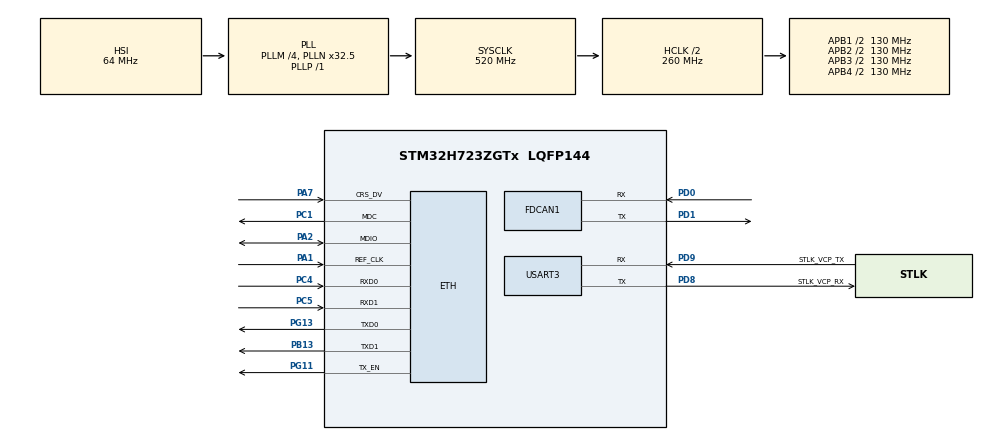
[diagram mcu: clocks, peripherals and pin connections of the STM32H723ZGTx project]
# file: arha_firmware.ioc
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CORTEX_M7.AccessPermission_S-Cortex_Memory_Protection_Unit_Region1_Settings_S=MPU_REGION_FULL_ACCESS
CORTEX_M7.AccessPermission_S-Cortex_Memory_Protection_Unit_Region2_Settings_S=MPU_REGION_FULL_ACCESS
CORTEX_M7.BaseAddress_S-Cortex_Memory_Protection_Unit_Region1_Settings_S=0x30000000
CORTEX_M7.BaseAddress_S-Cortex_Memory_Protection_Unit_Region2_Settings_S=0x30004000
CORTEX_M7.Enable_S-Cortex_Memory_Protection_Unit_Region1_Settings_S=MPU_REGION_ENABLE
CORTEX_M7.Enable_S-Cortex_Memory_Protection_Unit_Region2_Settings_S=MPU_REGION_ENABLE
CORTEX_M7.IsBufferable_S-Cortex_Memory_Protection_Unit_Region1_Settings_S=MPU_ACCESS_BUFFERABLE
CORTEX_M7.IsCacheable_S-Cortex_Memory_Protection_Unit_Region1_Settings_S=MPU_ACCESS_NOT_CACHEABLE
CORTEX_M7.IsShareable_S-Cortex_Memory_Protection_Unit_Region2_Settings_S=MPU_ACCESS_SHAREABLE
CORTEX_M7.Size_S-Cortex_Memory_Protection_Unit_Region1_Settings_S=MPU_REGION_SIZE_256B
CORTEX_M7.Size_S-Cortex_Memory_Protection_Unit_Region2_Settings_S=MPU_REGION_SIZE_16KB
CORTEX_M7.TypeExtField_S-Cortex_Memory_Protection_Unit_Region2_Settings_S=MPU_TEX_LEVEL1
CORTEX_M7.default_mode_Activation=1
Dma.CORDIC_RD.1.Direction=DMA_PERIPH_TO_MEMORY
Dma.CORDIC_RD.1.EventEnable=DISABLE
Dma.CORDIC_RD.1.FIFOMode=DMA_FIFOMODE_DISABLE
Dma.CORDIC_RD.1.Instance=DMA1_Stream1
Dma.CORDIC_RD.1.MemDataAlignment=DMA_MDATAALIGN_WORD
Dma.CORDIC_RD.1.MemInc=DMA_MINC_ENABLE
Dma.CORDIC_RD.1.Mode=DMA_NORMAL
Dma.CORDIC_RD.1.PeriphDataAlignment=DMA_PDATAALIGN_WORD
Dma.CORDIC_RD.1.PeriphInc=DMA_PINC_DISABLE
Dma.CORDIC_RD.1.Polarity=HAL_DMAMUX_REQ_GEN_RISING
Dma.CORDIC_RD.1.Priority=DMA_PRIORITY_LOW
Dma.CORDIC_RD.1.RequestNumber=1
Dma.CORDIC_RD.1.SignalID=NONE
Dma.CORDIC_RD.1.SyncEnable=DISABLE
Dma.CORDIC_RD.1.SyncPolarity=HAL_DMAMUX_SYNC_NO_EVENT
Dma.CORDIC_RD.1.SyncRequestNumber=1
Dma.CORDIC_RD.1.SyncSignalID=NONE
Dma.CORDIC_WR.0.Direction=DMA_MEMORY_TO_PERIPH
Dma.CORDIC_WR.0.EventEnable=DISABLE
Dma.CORDIC_WR.0.FIFOMode=DMA_FIFOMODE_DISABLE
Dma.CORDIC_WR.0.Instance=DMA1_Stream0
Dma.CORDIC_WR.0.MemDataAlignment=DMA_MDATAALIGN_WORD
Dma.CORDIC_WR.0.MemInc=DMA_MINC_ENABLE
Dma.CORDIC_WR.0.Mode=DMA_NORMAL
Dma.CORDIC_WR.0.PeriphDataAlignment=DMA_PDATAALIGN_WORD
Dma.CORDIC_WR.0.PeriphInc=DMA_PINC_DISABLE
Dma.CORDIC_WR.0.Polarity=HAL_DMAMUX_REQ_GEN_RISING
Dma.CORDIC_WR.0.Priority=DMA_PRIORITY_LOW
Dma.CORDIC_WR.0.RequestNumber=1
Dma.CORDIC_WR.0.SignalID=NONE
Dma.CORDIC_WR.0.SyncEnable=DISABLE
Dma.CORDIC_WR.0.SyncPolarity=HAL_DMAMUX_SYNC_NO_EVENT
Dma.CORDIC_WR.0.SyncRequestNumber=1
Dma.CORDIC_WR.0.SyncSignalID=NONE
Dma.FMAC_RD.2.Direction=DMA_PERIPH_TO_MEMORY
Dma.FMAC_RD.2.EventEnable=DISABLE
Dma.FMAC_RD.2.FIFOMode=DMA_FIFOMODE_DISABLE
Dma.FMAC_RD.2.Instance=DMA1_Stream2
Dma.FMAC_RD.2.MemDataAlignment=DMA_MDATAALIGN_HALFWORD
Dma.FMAC_RD.2.MemInc=DMA_MINC_ENABLE
Dma.FMAC_RD.2.Mode=DMA_NORMAL
Dma.FMAC_RD.2.PeriphDataAlignment=DMA_PDATAALIGN_HALFWORD
Dma.FMAC_RD.2.PeriphInc=DMA_PINC_DISABLE
Dma.FMAC_RD.2.Polarity=HAL_DMAMUX_REQ_GEN_RISING
Dma.FMAC_RD.2.Priority=DMA_PRIORITY_LOW
Dma.FMAC_RD.2.RequestNumber=1
Dma.FMAC_RD.2.SignalID=NONE
Dma.FMAC_RD.2.SyncEnable=DISABLE
Dma.FMAC_RD.2.SyncPolarity=HAL_DMAMUX_SYNC_NO_EVENT
Dma.FMAC_RD.2.SyncRequestNumber=1
Dma.FMAC_RD.2.SyncSignalID=NONE
Dma.FMAC_WR.3.Direction=DMA_MEMORY_TO_PERIPH
Dma.FMAC_WR.3.EventEnable=DISABLE
Dma.FMAC_WR.3.FIFOMode=DMA_FIFOMODE_DISABLE
Dma.FMAC_WR.3.Instance=DMA1_Stream3
Dma.FMAC_WR.3.MemDataAlignment=DMA_MDATAALIGN_HALFWORD
Dma.FMAC_WR.3.MemInc=DMA_MINC_ENABLE
Dma.FMAC_WR.3.Mode=DMA_NORMAL
Dma.FMAC_WR.3.PeriphDataAlignment=DMA_PDATAALIGN_HALFWORD
Dma.FMAC_WR.3.PeriphInc=DMA_PINC_DISABLE
Dma.FMAC_WR.3.Polarity=HAL_DMAMUX_REQ_GEN_RISING
Dma.FMAC_WR.3.Priority=DMA_PRIORITY_LOW
Dma.FMAC_WR.3.RequestNumber=1
Dma.FMAC_WR.3.SignalID=NONE
Dma.FMAC_WR.3.SyncEnable=DISABLE
Dma.FMAC_WR.3.SyncPolarity=HAL_DMAMUX_SYNC_NO_EVENT
Dma.FMAC_WR.3.SyncRequestNumber=1
Dma.FMAC_WR.3.SyncSignalID=NONE
Dma.Request0=CORDIC_WR
Dma.Request1=CORDIC_RD
Dma.Request2=FMAC_RD
Dma.Request3=FMAC_WR
ETH.MediaInterface=HAL_ETH_RMII_MODE
FDCAN1.AutoRetransmission=ENABLE
FDCAN1.CalculateBaudRateNominal=1000000
FDCAN1.CalculateTimeBitNominal=1000
FDCAN1.CalculateTimeQuantumNominal=76.92307692307692
FDCAN1.NominalPrescaler=10
FDCAN1.NominalTimeSeg1=10
FDCAN1.NominalTimeSeg2=2
FDCAN1.RxFifo0ElmtsNbr=8
FDCAN1.StdFiltersNbr=1
FDCAN1.TxFifoQueueElmtsNbr=32
FREERTOS.Tasks01=defaultTask,24,512,StartDefaultTask,Default,NULL,Dynamic,NULL,NULL
FREERTOS.configMINIMAL_STACK_SIZE=512
FREERTOS.configTOTAL_HEAP_SIZE=25000
FREERTOS.configUSE_NEWLIB_REENTRANT=1
LWIP.BSP.number=1
LWIP.GATEWAY_ADDRESS=192.168.197.001
LWIP.IP_ADDRESS=192.168.197.123
LWIP.LWIP_DHCP=0
LWIP.MEM_SIZE=14336
LWIP.NETMASK_ADDRESS=255.255.255.000
LWIP.PBUF_POOL_BUFSIZE=1536
LWIP.TCP_MSS=1460
LWIP.TCP_WND=5840
LWIP.Version=v2.1.2_Cube
LWIP0.BSP.STBoard=false
LWIP0.BSP.api=BSP_COMPONENT_DRIVER
LWIP0.BSP.component=LAN8742
LWIP0.BSP.instance=LAN8742
LWIP0.BSP.name=Driver_PHY
LWIP0.BSP.semaphore=S_LAN8742
LWIP0.BSP.solution=LAN8742
Mcu.Family=STM32H7
Mcu.Name=STM32H723ZGTx
Mcu.Package=LQFP144
NVIC.DMA1_Stream0_IRQn=true\:5\:0\:false\:false\:true\:true\:false\:true\:true
NVIC.DMA1_Stream1_IRQn=true\:5\:0\:false\:false\:true\:true\:false\:true\:true
NVIC.DMA1_Stream2_IRQn=true\:5\:0\:false\:false\:true\:true\:false\:true\:true
NVIC.DMA1_Stream3_IRQn=true\:5\:0\:false\:false\:true\:true\:false\:true\:true
NVIC.FDCAN1_IT0_IRQn=true\:5\:0\:false\:false\:true\:true\:true\:true\:true
NVIC.PriorityGroup=NVIC_PRIORITYGROUP_4
NVIC.TIM6_DAC_IRQn=true\:15\:0\:false\:false\:true\:false\:false\:true\:true
NVIC.TimeBase=TIM6_DAC_IRQn
NVIC.TimeBaseIP=TIM6
PA1.GPIO_Speed_Default_HIGH=GPIO_SPEED_FREQ_VERY_HIGH
PA1.Mode=RMII
PA1.Signal=ETH_REF_CLK
PA13(JTMS/SWDIO).GPIO_Label=SWDIO
PA13(JTMS/SWDIO).Signal=DEBUG_JTMS-SWDIO
PA14(JTCK/SWCLK).GPIO_Label=SWCLK
PA14(JTCK/SWCLK).Signal=DEBUG_JTCK-SWCLK
PA2.GPIO_Speed_Default_HIGH=GPIO_SPEED_FREQ_VERY_HIGH
PA2.Mode=RMII
PA2.Signal=ETH_MDIO
PA7.GPIO_Speed_Default_HIGH=GPIO_SPEED_FREQ_VERY_HIGH
PA7.Mode=RMII
PA7.Signal=ETH_CRS_DV
PB13.GPIO_Speed_Default_HIGH=GPIO_SPEED_FREQ_VERY_HIGH
PB13.Mode=RMII
PB13.Signal=ETH_TXD1
PC1.GPIO_Speed_Default_HIGH=GPIO_SPEED_FREQ_VERY_HIGH
PC1.Mode=RMII
PC1.Signal=ETH_MDC
PC14-OSC32_IN.Signal=RCC_OSC32_IN
PC15-OSC32_OUT.Signal=RCC_OSC32_OUT
PC4.GPIO_Speed_Default_HIGH=GPIO_SPEED_FREQ_VERY_HIGH
PC4.Mode=RMII
PC4.Signal=ETH_RXD0
PC5.GPIO_Speed_Default_HIGH=GPIO_SPEED_FREQ_VERY_HIGH
PC5.Mode=RMII
PC5.Signal=ETH_RXD1
PD0.GPIO_Speed=GPIO_SPEED_FREQ_VERY_HIGH
PD0.Mode=FDCAN_Activate
PD0.Signal=FDCAN1_RX
PD1.GPIO_Speed=GPIO_SPEED_FREQ_VERY_HIGH
PD1.Mode=FDCAN_Activate
PD1.Signal=FDCAN1_TX
PD8.GPIO_Label=STLK_VCP_RX
PD8.Mode=Asynchronous
PD8.Signal=USART3_TX
PD9.GPIO_Label=STLK_VCP_TX
PD9.Mode=Asynchronous
PD9.Signal=USART3_RX
PG11.GPIO_Speed_Default_HIGH=GPIO_SPEED_FREQ_VERY_HIGH
PG11.Mode=RMII
PG11.Signal=ETH_TX_EN
PG13.GPIO_Speed_Default_HIGH=GPIO_SPEED_FREQ_VERY_HIGH
PG13.Mode=RMII
PG13.Signal=ETH_TXD0
PH0-OSC_IN.Mode=HSE-External-Clock-Source
PH0-OSC_IN.Signal=RCC_OSC_IN
ProjectManager.HeapSize=0x1000
ProjectManager.StackSize=0x1000
ProjectManager.TargetToolchain=Makefile
RCC.ADCFreq_Value=608000000
RCC.APB1Freq_Value=130000000
RCC.APB2Freq_Value=130000000
RCC.APB3Freq_Value=130000000
RCC.APB4Freq_Value=130000000
RCC.CortexFreq_Value=520000000
RCC.D1PPRE=RCC_APB3_DIV2
RCC.D2PPRE1=RCC_APB1_DIV2
RCC.D2PPRE2=RCC_APB2_DIV2
RCC.D3PPRE=RCC_APB4_DIV2
RCC.DIVM1=4
RCC.DIVM2=1
RCC.DIVN1=32
RCC.DIVN2=19
RCC.DIVP1=1
RCC.DIVQ1=4
RCC.HCLKFreq_Value=260000000
RCC.HPRE=RCC_HCLK_DIV2
RCC.HSE_VALUE=8000000
RCC.PLLFRACN=4096
RCC.SYSCLKFreq_VALUE=520000000
RCC.SYSCLKSource=RCC_SYSCLKSOURCE_PLLCLK
RCC.USBCLockSelection=RCC_USBCLKSOURCE_HSI48
RCC.USBFreq_Value=48000000
USART3.VirtualMode-Asynchronous=VM_ASYNC
VP_CORDIC_VS_CORDIC.Mode=CORDIC_Activate
VP_FMAC_VS_FMAC.Mode=FMAC_Activate
VP_FREERTOS_VS_CMSIS_V2.Mode=CMSIS_V2
VP_LWIP_VS_Enabled.Mode=Enabled
VP_MEMORYMAP_VS_MEMORYMAP.Mode=CurAppReg
VP_SYS_VS_tim6.Mode=TIM6
board=NUCLEO-H723ZG

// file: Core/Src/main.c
/* USER CODE BEGIN Header */
/**
  ******************************************************************************
  * @file           : main.c
  * @brief          : Main program body
  ******************************************************************************
  * @attention
  *
  * Copyright (c) 2026 STMicroelectronics.
  * All rights reserved.
  *
  * This software is licensed under terms that can be found in the LICENSE file
  * in the root directory of this software component.
  * If no LICENSE file comes with this software, it is provided AS-IS.
  *
  ******************************************************************************
  */
/* USER CODE END Header */
#include "main.h"
#include "cmsis_os.h"
#include "lwip.h"

/* USER CODE BEGIN Includes */
#include "app.h"
/* USER CODE END Includes */

CORDIC_HandleTypeDef hcordic;
DMA_HandleTypeDef hdma_cordic_wr;
DMA_HandleTypeDef hdma_cordic_rd;

FDCAN_HandleTypeDef hfdcan1;

FMAC_HandleTypeDef hfmac;
DMA_HandleTypeDef hdma_fmac_rd;
DMA_HandleTypeDef hdma_fmac_wr;

UART_HandleTypeDef huart3;

/* Definitions for defaultTask */
osThreadId_t defaultTaskHandle;
const osThreadAttr_t defaultTask_attributes = {
  .name = "defaultTask",
  .stack_size = 512 * 4,
  .priority = (osPriority_t) osPriorityNormal,
};

void SystemClock_Config(void);
static void MPU_Config(void);
static void MX_GPIO_Init(void);
static void MX_DMA_Init(void);
static void MX_CORDIC_Init(void);
static void MX_FDCAN1_Init(void);
static void MX_FMAC_Init(void);
static void MX_USART3_UART_Init(void);
void StartDefaultTask(void *argument);

/* USER CODE BEGIN 0 */
int __io_putchar(int ch)
{
  HAL_UART_Transmit(&huart3, (uint8_t *)&ch, 1, HAL_MAX_DELAY);
  return ch;
}
/* USER CODE END 0 */

int main(void)
{

  /* MPU Configuration--------------------------------------------------------*/
  MPU_Config();

  /* MCU Configuration--------------------------------------------------------*/

  /* Reset of all peripherals, Initializes the Flash interface and the Systick. */
  HAL_Init();

  /* Configure the system clock */
  SystemClock_Config();

  /* Initialize all configured peripherals */
  MX_GPIO_Init();
  MX_DMA_Init();
  MX_CORDIC_Init();
  MX_FDCAN1_Init();
  MX_FMAC_Init();
  MX_USART3_UART_Init();
  /* USER CODE BEGIN 2 */
  App_Init();
  /* USER CODE END 2 */

  /* Init scheduler */
  osKernelInitialize();

  /* Create the thread(s) */
  /* creation of defaultTask */
  defaultTaskHandle = osThreadNew(StartDefaultTask, NULL, &defaultTask_attributes);

  /* USER CODE BEGIN RTOS_THREADS */
  /* add threads, ... */
  extern void StartBlinkTask(void *argument);
  const osThreadAttr_t blinkTask_attributes = {
    .name = "blinkTask",
    .stack_size = 256 * 4,
    .priority = (osPriority_t) osPriorityNormal,
  };
  osThreadNew(StartBlinkTask, NULL, &blinkTask_attributes);
  /* USER CODE END RTOS_THREADS */

  /* Start scheduler */
  osKernelStart();

  /* We should never get here as control is now taken by the scheduler */

  /* Infinite loop */
  while (1)
  {
  }
}

void SystemClock_Config(void)
{
  RCC_OscInitTypeDef RCC_OscInitStruct = {0};
  RCC_ClkInitTypeDef RCC_ClkInitStruct = {0};

  /** Supply configuration update enable
  */
  HAL_PWREx_ConfigSupply(PWR_LDO_SUPPLY);

  /** Configure the main internal regulator output voltage
  */
  __HAL_PWR_VOLTAGESCALING_CONFIG(PWR_REGULATOR_VOLTAGE_SCALE0);

  while(!__HAL_PWR_GET_FLAG(PWR_FLAG_VOSRDY)) {}

  /** Initializes the RCC Oscillators according to the specified parameters
  * in the RCC_OscInitTypeDef structure.
  */
  RCC_OscInitStruct.OscillatorType = RCC_OSCILLATORTYPE_HSI;
  RCC_OscInitStruct.HSIState = RCC_HSI_DIV1;
  RCC_OscInitStruct.HSICalibrationValue = 64;
  RCC_OscInitStruct.PLL.PLLState = RCC_PLL_ON;
  RCC_OscInitStruct.PLL.PLLSource = RCC_PLLSOURCE_HSI;
  RCC_OscInitStruct.PLL.PLLM = 4;
  RCC_OscInitStruct.PLL.PLLN = 32;
  RCC_OscInitStruct.PLL.PLLP = 1;
  RCC_OscInitStruct.PLL.PLLQ = 4;
  RCC_OscInitStruct.PLL.PLLR = 2;
  RCC_OscInitStruct.PLL.PLLRGE = RCC_PLL1VCIRANGE_3;
  RCC_OscInitStruct.PLL.PLLVCOSEL = RCC_PLL1VCOWIDE;
  RCC_OscInitStruct.PLL.PLLFRACN = 4096;
  if (HAL_RCC_OscConfig(&RCC_OscInitStruct) != HAL_OK)
  {
    Error_Handler();
  }

  /** Initializes the CPU, AHB and APB buses clocks
  */
  RCC_ClkInitStruct.ClockType = RCC_CLOCKTYPE_HCLK|RCC_CLOCKTYPE_SYSCLK
                              |RCC_CLOCKTYPE_PCLK1|RCC_CLOCKTYPE_PCLK2
                              |RCC_CLOCKTYPE_D3PCLK1|RCC_CLOCKTYPE_D1PCLK1;
  RCC_ClkInitStruct.SYSCLKSource = RCC_SYSCLKSOURCE_PLLCLK;
  RCC_ClkInitStruct.SYSCLKDivider = RCC_SYSCLK_DIV1;
  RCC_ClkInitStruct.AHBCLKDivider = RCC_HCLK_DIV2;
  RCC_ClkInitStruct.APB3CLKDivider = RCC_APB3_DIV2;
  RCC_ClkInitStruct.APB1CLKDivider = RCC_APB1_DIV2;
  RCC_ClkInitStruct.APB2CLKDivider = RCC_APB2_DIV2;
  RCC_ClkInitStruct.APB4CLKDivider = RCC_APB4_DIV2;

  if (HAL_RCC_ClockConfig(&RCC_ClkInitStruct, FLASH_LATENCY_3) != HAL_OK)
  {
    Error_Handler();
  }
}

static void MX_CORDIC_Init(void)
{

  hcordic.Instance = CORDIC;
  if (HAL_CORDIC_Init(&hcordic) != HAL_OK)
  {
    Error_Handler();
  }

}

static void MX_FDCAN1_Init(void)
{

  hfdcan1.Instance = FDCAN1;
  hfdcan1.Init.FrameFormat = FDCAN_FRAME_CLASSIC;
  hfdcan1.Init.Mode = FDCAN_MODE_NORMAL;
  hfdcan1.Init.AutoRetransmission = ENABLE;
  hfdcan1.Init.TransmitPause = DISABLE;
  hfdcan1.Init.ProtocolException = DISABLE;
  hfdcan1.Init.NominalPrescaler = 10;
  hfdcan1.Init.NominalSyncJumpWidth = 1;
  hfdcan1.Init.NominalTimeSeg1 = 10;
  hfdcan1.Init.NominalTimeSeg2 = 2;
  hfdcan1.Init.DataPrescaler = 1;
  hfdcan1.Init.DataSyncJumpWidth = 1;
  hfdcan1.Init.DataTimeSeg1 = 1;
  hfdcan1.Init.DataTimeSeg2 = 1;
  hfdcan1.Init.MessageRAMOffset = 0;
  hfdcan1.Init.StdFiltersNbr = 1;
  hfdcan1.Init.ExtFiltersNbr = 0;
  hfdcan1.Init.RxFifo0ElmtsNbr = 8;
  hfdcan1.Init.RxFifo0ElmtSize = FDCAN_DATA_BYTES_8;
  hfdcan1.Init.RxFifo1ElmtsNbr = 0;
  hfdcan1.Init.RxFifo1ElmtSize = FDCAN_DATA_BYTES_8;
  hfdcan1.Init.RxBuffersNbr = 0;
  hfdcan1.Init.RxBufferSize = FDCAN_DATA_BYTES_8;
  hfdcan1.Init.TxEventsNbr = 0;
  hfdcan1.Init.TxBuffersNbr = 0;
  hfdcan1.Init.TxFifoQueueElmtsNbr = 32;
  hfdcan1.Init.TxFifoQueueMode = FDCAN_TX_FIFO_OPERATION;
  hfdcan1.Init.TxElmtSize = FDCAN_DATA_BYTES_8;
  if (HAL_FDCAN_Init(&hfdcan1) != HAL_OK)
  {
    Error_Handler();
  }

}

static void MX_FMAC_Init(void)
{

  hfmac.Instance = FMAC;
  if (HAL_FMAC_Init(&hfmac) != HAL_OK)
  {
    Error_Handler();
  }

}

static void MX_USART3_UART_Init(void)
{

  huart3.Instance = USART3;
  huart3.Init.BaudRate = 115200;
  huart3.Init.WordLength = UART_WORDLENGTH_8B;
  huart3.Init.StopBits = UART_STOPBITS_1;
  huart3.Init.Parity = UART_PARITY_NONE;
  huart3.Init.Mode = UART_MODE_TX_RX;
  huart3.Init.HwFlowCtl = UART_HWCONTROL_NONE;
  huart3.Init.OverSampling = UART_OVERSAMPLING_16;
  huart3.Init.OneBitSampling = UART_ONE_BIT_SAMPLE_DISABLE;
  huart3.Init.ClockPrescaler = UART_PRESCALER_DIV1;
  huart3.AdvancedInit.AdvFeatureInit = UART_ADVFEATURE_NO_INIT;
  if (HAL_UART_Init(&huart3) != HAL_OK)
  {
    Error_Handler();
  }
  if (HAL_UARTEx_SetTxFifoThreshold(&huart3, UART_TXFIFO_THRESHOLD_1_8) != HAL_OK)
  {
    Error_Handler();
  }
  if (HAL_UARTEx_SetRxFifoThreshold(&huart3, UART_RXFIFO_THRESHOLD_1_8) != HAL_OK)
  {
    Error_Handler();
  }
  if (HAL_UARTEx_DisableFifoMode(&huart3) != HAL_OK)
  {
    Error_Handler();
  }

}

static void MX_DMA_Init(void)
{

  /* DMA controller clock enable */
  __HAL_RCC_DMA1_CLK_ENABLE();

  /* DMA interrupt init */
  /* DMA1_Stream0_IRQn interrupt configuration */
  HAL_NVIC_SetPriority(DMA1_Stream0_IRQn, 5, 0);
  HAL_NVIC_EnableIRQ(DMA1_Stream0_IRQn);
  /* DMA1_Stream1_IRQn interrupt configuration */
  HAL_NVIC_SetPriority(DMA1_Stream1_IRQn, 5, 0);
  HAL_NVIC_EnableIRQ(DMA1_Stream1_IRQn);
  /* DMA1_Stream2_IRQn interrupt configuration */
  HAL_NVIC_SetPriority(DMA1_Stream2_IRQn, 5, 0);
  HAL_NVIC_EnableIRQ(DMA1_Stream2_IRQn);
  /* DMA1_Stream3_IRQn interrupt configuration */
  HAL_NVIC_SetPriority(DMA1_Stream3_IRQn, 5, 0);
  HAL_NVIC_EnableIRQ(DMA1_Stream3_IRQn);

}

static void MX_GPIO_Init(void)
{

  /* GPIO Ports Clock Enable */
  __HAL_RCC_GPIOC_CLK_ENABLE();
  __HAL_RCC_GPIOH_CLK_ENABLE();
  __HAL_RCC_GPIOA_CLK_ENABLE();
  __HAL_RCC_GPIOB_CLK_ENABLE();
  __HAL_RCC_GPIOD_CLK_ENABLE();
  __HAL_RCC_GPIOG_CLK_ENABLE();

  /* USER CODE BEGIN MX_GPIO_Init_2 */
  GPIO_InitTypeDef GPIO_InitStruct = {0};

  /*Configure GPIO pin : PB0 */
  GPIO_InitStruct.Pin = GPIO_PIN_0;
  GPIO_InitStruct.Mode = GPIO_MODE_OUTPUT_PP;
  GPIO_InitStruct.Pull = GPIO_NOPULL;
  GPIO_InitStruct.Speed = GPIO_SPEED_FREQ_LOW;
  HAL_GPIO_Init(GPIOB, &GPIO_InitStruct);
  /* USER CODE END MX_GPIO_Init_2 */
}

/* USER CODE BEGIN 4 */
void StartBlinkTask(void *argument)
{
  for(;;)
  {
    HAL_GPIO_TogglePin(GPIOB, GPIO_PIN_0);
    osDelay(100);
  }
}
/* USER CODE END 4 */

void StartDefaultTask(void *argument)
{
  /* init code for LWIP */
  MX_LWIP_Init();
  /* USER CODE BEGIN 5 */
  /* Infinite loop */
  for(;;)
  {
    osDelay(1000);
  }
  /* USER CODE END 5 */
}

 /* MPU Configuration */

void MPU_Config(void)
{
  MPU_Region_InitTypeDef MPU_InitStruct = {0};

  /* Disables the MPU */
  HAL_MPU_Disable();

  /** Initializes and configures the Region and the memory to be protected
  */
  MPU_InitStruct.Enable = MPU_REGION_ENABLE;
  MPU_InitStruct.Number = MPU_REGION_NUMBER0;
  MPU_InitStruct.BaseAddress = 0x0;
  MPU_InitStruct.Size = MPU_REGION_SIZE_4GB;
  MPU_InitStruct.SubRegionDisable = 0x87;
  MPU_InitStruct.TypeExtField = MPU_TEX_LEVEL0;
  MPU_InitStruct.AccessPermission = MPU_REGION_NO_ACCESS;
  MPU_InitStruct.DisableExec = MPU_INSTRUCTION_ACCESS_DISABLE;
  MPU_InitStruct.IsShareable = MPU_ACCESS_SHAREABLE;
  MPU_InitStruct.IsCacheable = MPU_ACCESS_NOT_CACHEABLE;
  MPU_InitStruct.IsBufferable = MPU_ACCESS_NOT_BUFFERABLE;

  HAL_MPU_ConfigRegion(&MPU_InitStruct);

  /** Initializes and configures the Region and the memory to be protected
  */
  MPU_InitStruct.Number = MPU_REGION_NUMBER1;
  MPU_InitStruct.BaseAddress = 0x30000000;
  MPU_InitStruct.Size = MPU_REGION_SIZE_256B;
  MPU_InitStruct.SubRegionDisable = 0x0;
  MPU_InitStruct.AccessPermission = MPU_REGION_FULL_ACCESS;
  MPU_InitStruct.DisableExec = MPU_INSTRUCTION_ACCESS_ENABLE;
  MPU_InitStruct.IsShareable = MPU_ACCESS_NOT_SHAREABLE;
  MPU_InitStruct.IsBufferable = MPU_ACCESS_BUFFERABLE;

  HAL_MPU_ConfigRegion(&MPU_InitStruct);

  /** Initializes and configures the Region and the memory to be protected
  */
  MPU_InitStruct.Number = MPU_REGION_NUMBER2;
  MPU_InitStruct.BaseAddress = 0x30004000;
  MPU_InitStruct.Size = MPU_REGION_SIZE_16KB;
  MPU_InitStruct.TypeExtField = MPU_TEX_LEVEL1;
  MPU_InitStruct.IsShareable = MPU_ACCESS_SHAREABLE;
  MPU_InitStruct.IsBufferable = MPU_ACCESS_NOT_BUFFERABLE;

  HAL_MPU_ConfigRegion(&MPU_InitStruct);
  /* Enables the MPU */
  HAL_MPU_Enable(MPU_PRIVILEGED_DEFAULT);

}

void HAL_TIM_PeriodElapsedCallback(TIM_HandleTypeDef *htim)
{
  if (htim->Instance == TIM6)
  {
    HAL_IncTick();
  }
}

void Error_Handler(void)
{
  __disable_irq();
  while (1)
  {
  }
}
